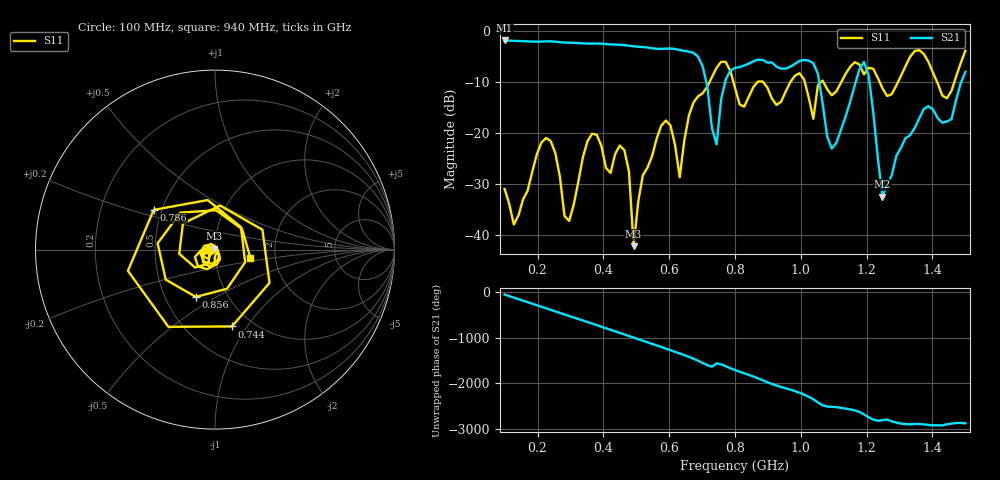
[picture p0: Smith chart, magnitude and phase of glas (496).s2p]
! NanoVNA-App
! Date: 2025-09-25 15:59:20
! Start: 100MHz Stop: 1,5GHz Points: 101
! S-Parameter data: F S11 S21 S12 S22
# Hz S RI R 50
!  Frequency  S11_Real  S11_Imag  S21_Real  S21_Imag  S12_Real  S12_Imag  S22_Real  S22_Imag
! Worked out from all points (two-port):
!   101 points, 100 MHz to 1.5 GHz, reference 50 ohm
!   highest |S21| = -1.80 dB at 100 MHz (marker M1); lowest = -32.4 dB at 1.248 GHz (marker M2)
!   |S21| within 3 dB of the highest: start of sweep to 684.3 MHz
!   lowest |S11| = -42.2 dB at 492 MHz (marker M3), VSWR 1.02, Z = 49.5 + j0.597 ohm
!   |S11| at or under -10 dB: start of sweep to 722.4 MHz; 795.4 MHz to 868.1 MHz (72.76 MHz wide, 8.75 % of centre); 885.8 MHz to 967.9 MHz (82.09 MHz wide, 8.86 % of centre) (the widest 3 of 7)
!   S12 and S22 are empty: the file has one direction only
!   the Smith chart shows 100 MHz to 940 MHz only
!   S11 on the Smith chart (normalised r, x): 100 MHz: 0.95, -0.01; 744 MHz: 0.81, -0.85; 786 MHz: 0.45, +0.24; 856 MHz: 0.71, -0.41; 940 MHz: 1.48, -0.15
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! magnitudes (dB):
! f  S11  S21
! 100 MHz  -30.9  -1.8
! 128 MHz  -37.9  -1.9
! 226 MHz  -20.9  -2.0
! 296 MHz  -37.2  -2.2
! 338 MHz  -24.7  -2.4
! 464 MHz  -23.3  -2.7
! 492 MHz  -42.2  -3.0
! 576 MHz  -18.5  -3.5
! 632 MHz  -28.6  -3.7
! 702 MHz  -12.1  -6.9
! 744 MHz  -7.2  -22.2
! 786 MHz  -7.8  -7.7
! 800 MHz  -11.1  -7.2
! 856 MHz  -10.9  -5.9
! 940 MHz  -13.8  -7.3
! 996 MHz  -8.2  -5.8
! 1.038 GHz  -17.2  -6.3
! 1.094 GHz  -12.6  -23.0
! 1.192 GHz  -8.5  -6.0
! 1.248 GHz  -11.2  -32.4
! 1.276 GHz  -12.4  -28.3
! 1.5 GHz  -3.8  -8.0
